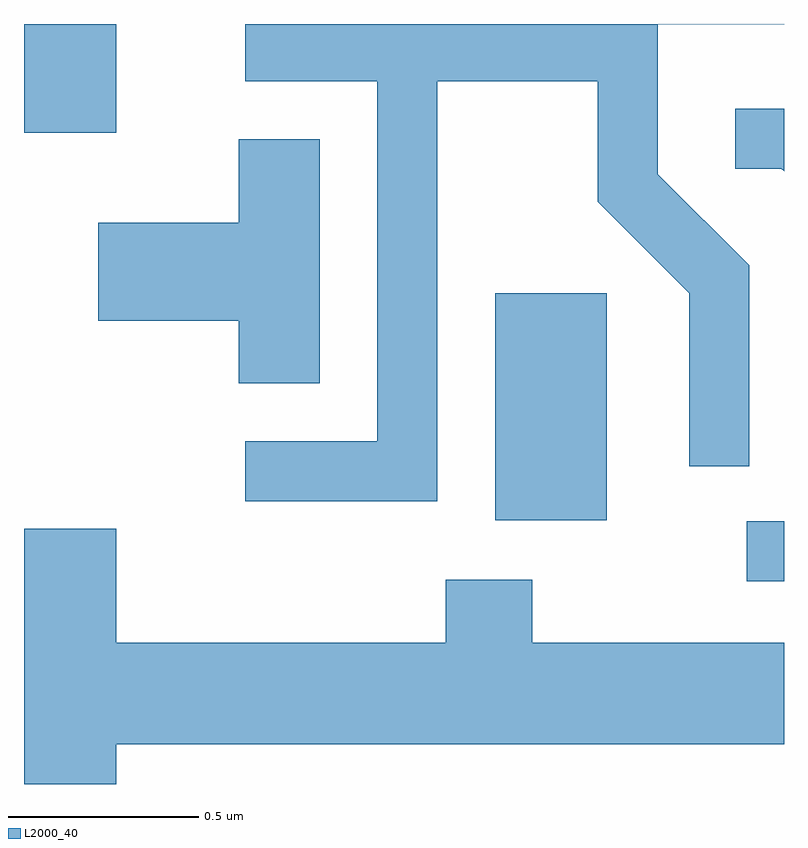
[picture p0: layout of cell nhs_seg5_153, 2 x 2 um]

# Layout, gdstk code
import gdstk
lib = gdstk.Library(unit=1e-6, precision=1e-09)
def R(c, l, rs):  # rectangles x0, y0, x1, y1
    for r in rs: c.add(gdstk.rectangle(r[:2], r[2:], *l))
def P(c, l, *ps):  # polygons
    for p in ps: c.add(gdstk.Polygon(p, *l))
L2000_40 = (2000, 40)

nhs_seg5_153 = lib.new_cell('nhs_seg5_153')
R(nhs_seg5_153, L2000_40, [(188.513,1410.606,188.611,1410.764), (187.851,1410.766,188.144,1411.364), (186.611,1411.786,186.854,1412.072)])
P(nhs_seg5_153, L2000_40, [(187.699,1411.921),(188.121,1411.921),(188.121,1411.604),(188.361,1411.364),(188.361,1410.908),(188.519,1410.908),(188.519,1411.437),(188.279,1411.677),(188.279,1412.071),(188.611,1412.071),(188.611,1412.072),(187.193,1412.072),(187.193,1411.921),(187.541,1411.921),(187.541,1410.974),(187.193,1410.974),(187.193,1410.816),(187.699,1410.816)],
  [(188.611,1411.849),(188.483,1411.849),(188.483,1411.691),(188.604,1411.691),(188.611,1411.684)],
  [(187.389,1411.769),(187.176,1411.769),(187.176,1411.549),(186.806,1411.549),(186.806,1411.291),(187.176,1411.291),(187.176,1411.126),(187.389,1411.126)],
  [(186.854,1410.176),(188.611,1410.176),(188.611,1410.444),(187.949,1410.444),(187.949,1410.609),(187.721,1410.609),(187.721,1410.444),(186.854,1410.444),(186.854,1410.744),(186.611,1410.744),(186.611,1410.072),(186.854,1410.072)])

lib.write_gds('nhs_seg5_153.gds')
